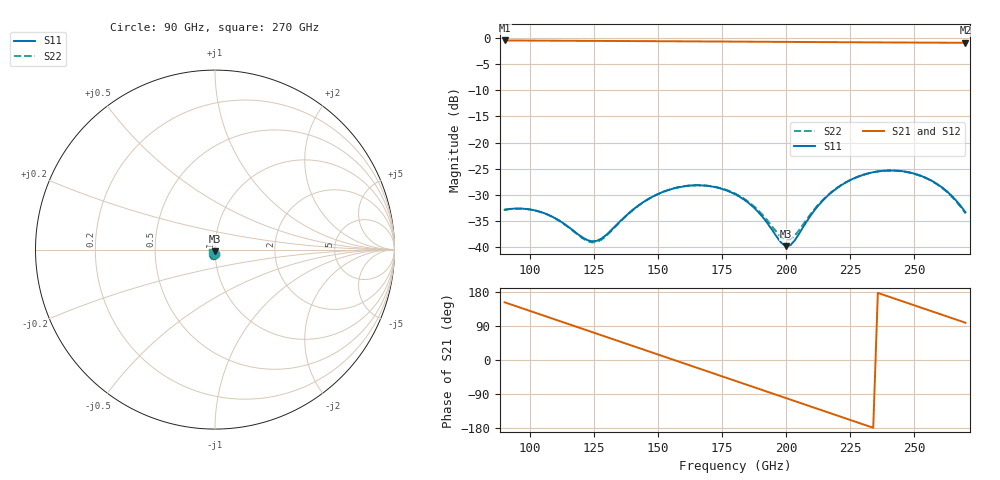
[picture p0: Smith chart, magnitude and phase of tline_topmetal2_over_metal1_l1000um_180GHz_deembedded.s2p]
! Created with skrf 2.2.0 (http://scikit-rf.org).
# GHz S DB R 50.0
! Port[1] = P1
! Port[2] = P2
!freq dBS11 angS11 dBS21 angS21 dBS12 angS12 dBS22 angS22
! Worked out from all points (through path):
!   101 points, 90 GHz to 270 GHz, reference 50 ohm
!   highest |S21| = -0.51 dB at 90 GHz (marker M1); lowest = -1.0 dB at 270 GHz (marker M2)
!   group delay of S21, straight-line fit = 6.39 ps
!   lowest |S11| = -39.8 dB at 199.8 GHz (marker M3), VSWR 1.02, Z = 49.8 - j1 ohm
!   |S11| at or under -10 dB: start of sweep to end of sweep
!   |S22| runs from -39.0 to -25.3 dB; largest |S21 - S12| = 1.1e-14
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90  -32.81 -97.4  -0.51 152.3  -0.51 152.3  -32.81 -97.0
106.2  -33.60 -118.0  -0.55 115.0  -0.55 115.0  -33.62 -117.9
113.4  -35.54 -121.6  -0.57 98.4  -0.57 98.4  -35.59 -121.6
120.6  -38.14 -111.7  -0.58 81.9  -0.58 81.9  -38.30 -111.7
126  -38.73 -91.2  -0.59 69.5  -0.59 69.5  -38.94 -90.4
135  -35.08 -68.9  -0.61 48.8  -0.61 48.8  -35.17 -67.3
144  -31.41 -71.8  -0.63 28.1  -0.63 28.1  -31.44 -70.3
151.2  -29.54 -80.9  -0.65 11.5  -0.65 11.5  -29.54 -79.3
158.4  -28.48 -92.2  -0.67 -5.0  -0.67 -5.0  -28.46 -90.6
165.6  -28.14 -104.3  -0.69 -21.6  -0.69 -21.6  -28.11 -102.6
180  -29.83 -127.6  -0.73 -54.7  -0.73 -54.7  -29.72 -125.2
190.8  -34.19 -135.9  -0.76 -79.5  -0.76 -79.5  -33.82 -132.4
199.8  -39.75 -101.8  -0.78 -100.2  -0.78 -100.2  -38.57 -101.5
203.4  -38.62 -74.1  -0.79 -108.5  -0.79 -108.5  -37.73 -77.8
210.6  -33.19 -56.0  -0.81 -125.1  -0.81 -125.1  -32.97 -59.5
217.8  -29.45 -60.6  -0.83 -141.6  -0.83 -141.6  -29.38 -62.9
226.8  -26.74 -73.9  -0.86 -162.3  -0.86 -162.3  -26.74 -75.6
234  -25.65 -86.5  -0.87 -178.9  -0.87 -178.9  -25.65 -87.8
241.2  -25.31 -99.4  -0.89 164.6  -0.89 164.6  -25.33 -100.6
248.4  -25.71 -112.1  -0.91 148.1  -0.91 148.1  -25.75 -113.2
257.4  -27.42 -126.0  -0.93 127.4  -0.93 127.4  -27.48 -127.2
270  -33.27 -129.8  -0.95 98.4  -0.95 98.4  -33.49 -131.4
